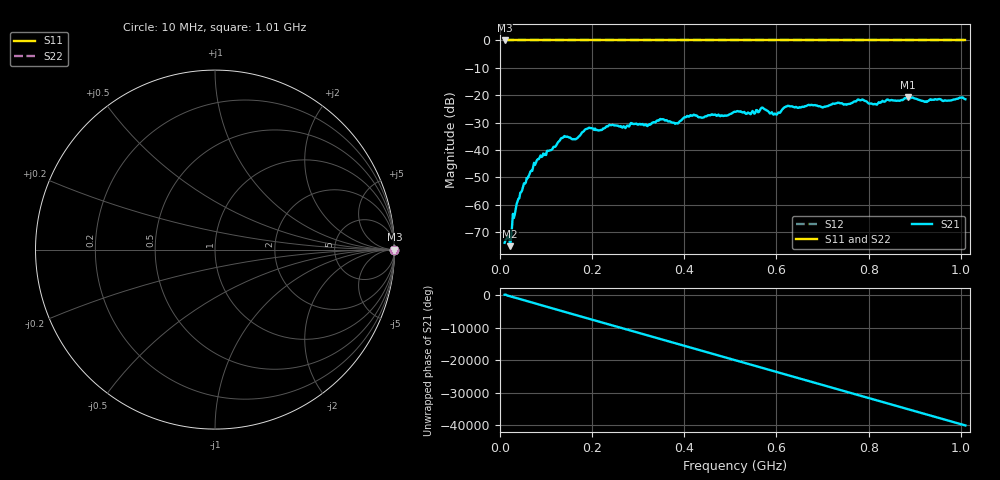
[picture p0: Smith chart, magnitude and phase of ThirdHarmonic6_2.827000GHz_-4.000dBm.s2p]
! 8/17/2025 7:30:51 AM
! C:\ANRITSUVNA\TEMP\TEMP.S2P
! CHANNEL.1
! TR.MEASUREMENT
! RAW.DATA
! RF.CORRECTION.OFF
! AVERAGING.OFF
! IF.BANDWIDTH: 5KHZ
! SWEEPTYPE:  FREQ.SWEEP(Linear)
! Reference Plane Port Info
! PORT:  PORT1  PORT2
! DISTANCE:  0  m  0  m
! TIME:  0  s  0  s
! PHASE.OFFSET:  0  deg.  0  deg.
! LOSS:  0  dB  0  dB
! REF.LOSS:  0  dB  0  dB
! REF.FREQ:  0  Hz  0  Hz
! Power Info
! POWER:  -20  dBm  -20  dBm
! EFF.POWER:  -20  dBm  -20  dBm
! SOURCE.ATTEN:  0  dB  0  dB
! TEST.ATTEN:  0  dB  0  dB
# GHZ S RI R 50.0
! FREQ.GHZ  S11RE  S11IM  S21RE  S21IM  S12RE  S12IM  S22RE  S22IM
!; PortSelection: Port_12
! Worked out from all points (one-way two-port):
!   501 points, 10 MHz to 1.01 GHz, reference 50 ohm
!   highest |S21| = -20.76 dB at 886 MHz (marker M1); lowest = -75.1 dB at 22 MHz (marker M2)
!   lowest |S11| = 0.0 dB at 10 MHz (marker M3)
!   |S11| at or under -10 dB: nowhere
!   |S22| runs from 0.0 to 0.0 dB; largest |S21 - S12| = 1.1
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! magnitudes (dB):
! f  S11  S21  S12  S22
! 10 MHz  0.0  -73.9  0.0  0.0
! 22 MHz  0.0  -75.1  0.0  0.0
! 32 MHz  0.0  -63.6  0.0  0.0
! 40 MHz  0.0  -57.8  0.0  0.0
! 78 MHz  0.0  -44.6  0.0  0.0
! 136 MHz  0.0  -35.6  0.0  0.0
! 162 MHz  0.0  -36.1  0.0  0.0
! 178 MHz  0.0  -33.6  0.0  0.0
! 194 MHz  0.0  -31.9  0.0  0.0
! 322 MHz  0.0  -30.9  0.0  0.0
! 344 MHz  0.0  -29.3  0.0  0.0
! 384 MHz  0.0  -30.2  0.0  0.0
! 410 MHz  0.0  -27.9  0.0  0.0
! 510 MHz  0.0  -26.0  0.0  0.0
! 570 MHz  0.0  -24.5  0.0  0.0
! 598 MHz  0.0  -26.8  0.0  0.0
! 624 MHz  0.0  -23.9  0.0  0.0
! 678 MHz  0.0  -23.6  0.0  0.0
! 814 MHz  0.0  -23.2  0.0  0.0
! 844 MHz  0.0  -21.8  0.0  0.0
! 886 MHz  0.0  -20.8  0.0  0.0
! 1.01 GHz  0.0  -21.5  0.0  0.0
